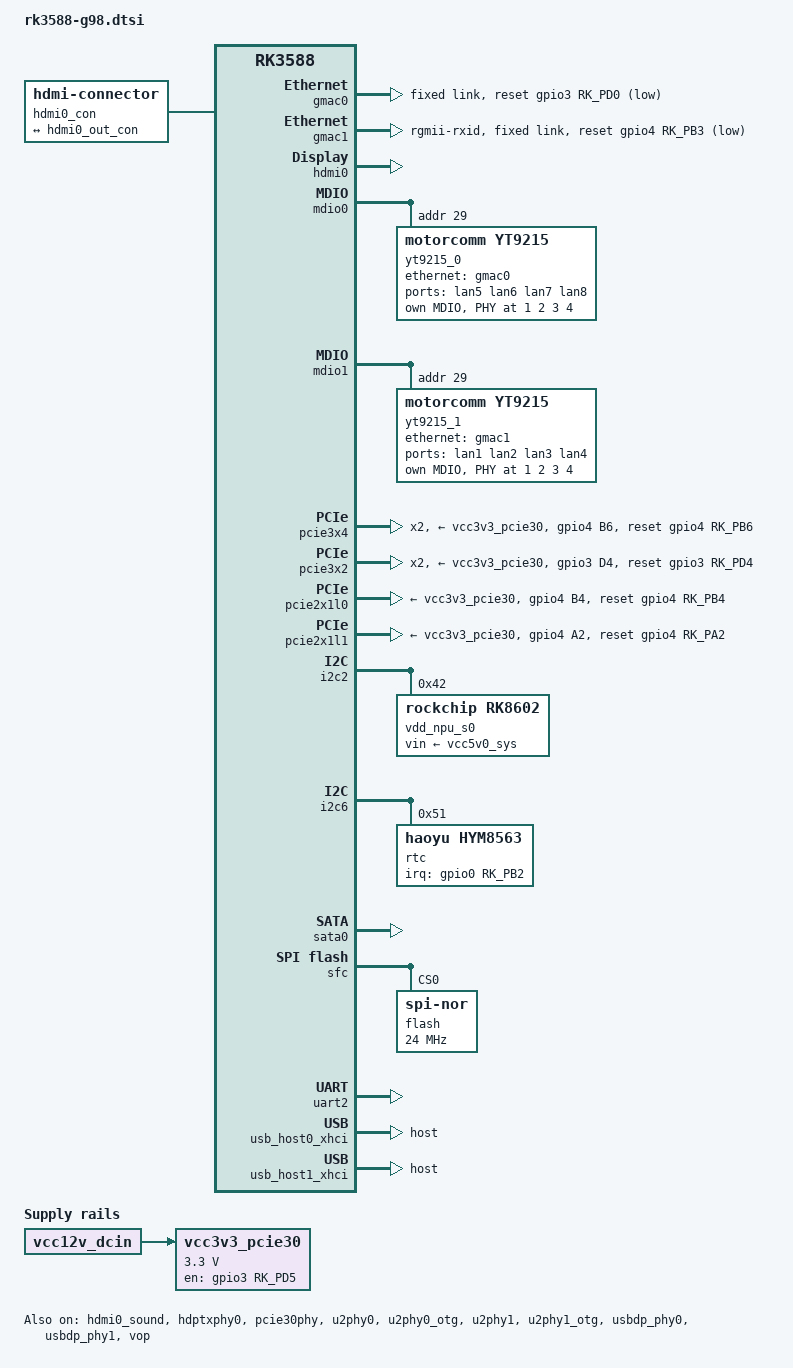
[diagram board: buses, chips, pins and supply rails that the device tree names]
// SPDX-License-Identifier: (GPL-2.0+ OR MIT)

#include <dt-bindings/soc/rockchip,vop2.h>

/ {
	hdmi0_con: hdmi-connector {
		compatible = "hdmi-connector";
		type = "a";

		port {
			hdmi0_con_in: endpoint {
				remote-endpoint = <&hdmi0_out_con>;
			};
		};
	};

	vcc3v3_pcie30: regulator-pcie30-3v3 {
		compatible = "regulator-fixed";
		regulator-name = "vcc3v3_pcie30";
		regulator-min-microvolt = <3300000>;
		regulator-max-microvolt = <3300000>;
		enable-active-high;
		gpio = <&gpio3 RK_PD5 GPIO_ACTIVE_HIGH>;
		off-on-delay-us = <500000>;
		startup-delay-us = <7500>;
		vin-supply = <&vcc12v_dcin>;
	};

};

&{/} {
	/delete-node/ backlight;
};

&{/adc-keys} {
	/delete-node/ button-vol-up;
	/delete-node/ button-vol-down;
	/delete-node/ button-menu;
	/delete-node/ button-escape;

	recovery-key {
		label = "F12";
		linux,code = <88>;
		press-threshold-microvolt = <1750>;
	};
};

&gmac0 {
	/delete-property/ phy-handle;
	tx_delay = <0x44>;
	snps,reset-gpio = <&gpio3 RK_PD0 GPIO_ACTIVE_LOW>;
	snps,reset-active-low;
	snps,reset-delays-us = <0 20000 100000>;

	fixed-link {
		speed = <1000>;
		full-duplex;
		pause;
	};
};

&gmac1 {
	clock_in_out = "output";
	phy-mode = "rgmii-rxid";
	pinctrl-names = "default";
	pinctrl-0 = <&gmac1_miim &gmac1_tx_bus2 &gmac1_rx_bus2
		     &gmac1_rgmii_clk &gmac1_rgmii_bus>;
	tx_delay = <0x42>;
	snps,reset-gpio = <&gpio4 RK_PB3 GPIO_ACTIVE_LOW>;
	snps,reset-active-low;
	snps,reset-delays-us = <0 20000 100000>;
	status = "okay";
	/delete-property/ phy-handle;

	fixed-link {
		speed = <1000>;
		full-duplex;
		pause;
	};
};

&hdmi0 {
	status = "okay";
};

&hdmi0_in {
	hdmi0_in_vp0: endpoint {
		remote-endpoint = <&vp0_out_hdmi0>;
	};
};

&hdmi0_out {
	hdmi0_out_con: endpoint {
		remote-endpoint = <&hdmi0_con_in>;
	};
};

&hdmi0_sound {
	status = "okay";
};

&hdptxphy0 {
	status = "okay";
};

&mdio0 {
	/delete-node/ ethernet-phy@1;

	yt9215_0: switch@1d {
		compatible = "motorcomm,yt9215";
		reg = <0x1d>;
		dsa,member = <1 0>;
		motorcomm,bdy-g98-led-profile;

		mdio {
			#address-cells = <1>;
			#size-cells = <0>;

			yt0_phy1: ethernet-phy@1 { reg = <1>; };
			yt0_phy2: ethernet-phy@2 { reg = <2>; };
			yt0_phy3: ethernet-phy@3 { reg = <3>; };
			yt0_phy4: ethernet-phy@4 { reg = <4>; };
		};

		ethernet-ports {
			#address-cells = <1>;
			#size-cells = <0>;

			port@1 { reg = <1>; label = "lan5"; phy-mode = "internal"; phy-handle = <&yt0_phy1>; };
			port@2 { reg = <2>; label = "lan6"; phy-mode = "internal"; phy-handle = <&yt0_phy2>; };
			port@3 { reg = <3>; label = "lan7"; phy-mode = "internal"; phy-handle = <&yt0_phy3>; };
			port@4 { reg = <4>; label = "lan8"; phy-mode = "internal"; phy-handle = <&yt0_phy4>; };

			port@9 {
				reg = <9>;
				ethernet = <&gmac0>;
				phy-mode = "rgmii-txid";

				fixed-link {
					speed = <1000>;
					full-duplex;
					pause;
				};
			};
		};
	};
};

&mdio1 {
	yt9215_1: switch@1d {
		compatible = "motorcomm,yt9215";
		reg = <0x1d>;
		dsa,member = <0 0>;
		motorcomm,bdy-g98-led-profile;

		mdio {
			#address-cells = <1>;
			#size-cells = <0>;

			yt1_phy1: ethernet-phy@1 { reg = <1>; };
			yt1_phy2: ethernet-phy@2 { reg = <2>; };
			yt1_phy3: ethernet-phy@3 { reg = <3>; };
			yt1_phy4: ethernet-phy@4 { reg = <4>; };
		};

		ethernet-ports {
			#address-cells = <1>;
			#size-cells = <0>;

			port@1 { reg = <1>; label = "lan1"; phy-mode = "internal"; phy-handle = <&yt1_phy1>; };
			port@2 { reg = <2>; label = "lan2"; phy-mode = "internal"; phy-handle = <&yt1_phy2>; };
			port@3 { reg = <3>; label = "lan3"; phy-mode = "internal"; phy-handle = <&yt1_phy3>; };
			port@4 { reg = <4>; label = "lan4"; phy-mode = "internal"; phy-handle = <&yt1_phy4>; };

			port@9 {
				reg = <9>;
				ethernet = <&gmac1>;
				phy-mode = "rgmii-txid";

				fixed-link {
					speed = <1000>;
					full-duplex;
					pause;
				};
			};
		};
	};
};

&pinctrl {
	pcie {
		pcie2x1l0_rst: pcie2x1l0-rst {
			rockchip,pins = <4 RK_PB4 RK_FUNC_GPIO &pcfg_pull_none>;
		};

		pcie2x1l1_rst: pcie2x1l1-rst {
			rockchip,pins = <4 RK_PA2 RK_FUNC_GPIO &pcfg_pull_none>;
		};

		pcie3x2_rst: pcie3x2-rst {
			rockchip,pins = <3 RK_PD4 RK_FUNC_GPIO &pcfg_pull_none>;
		};

		pcie3x4_rst: pcie3x4-rst {
			rockchip,pins = <4 RK_PB6 RK_FUNC_GPIO &pcfg_pull_none>;
		};
	};

	rtc {
		rtc_int: rtc-int {
			rockchip,pins = <0 RK_PB2 RK_FUNC_GPIO &pcfg_pull_up>;
		};
	};
};

&pcie30phy {
	data-lanes = <1 1 2 2>;
	status = "okay";
};

&pcie3x4 {
	max-link-speed = <3>;
	num-lanes = <2>;
	pinctrl-names = "default";
	pinctrl-0 = <&pcie3x4_rst>;
	reset-gpios = <&gpio4 RK_PB6 GPIO_ACTIVE_HIGH>;
	vpcie3v3-supply = <&vcc3v3_pcie30>;
	status = "okay";
};

&pcie3x2 {
	max-link-speed = <3>;
	num-lanes = <2>;
	pinctrl-names = "default";
	pinctrl-0 = <&pcie3x2_rst>;
	reset-gpios = <&gpio3 RK_PD4 GPIO_ACTIVE_HIGH>;
	vpcie3v3-supply = <&vcc3v3_pcie30>;
	status = "okay";
};

&pcie2x1l0 {
	max-link-speed = <2>;
	pinctrl-names = "default";
	pinctrl-0 = <&pcie2x1l0_rst>;
	reset-gpios = <&gpio4 RK_PB4 GPIO_ACTIVE_HIGH>;
	supports-clkreq;
	vpcie3v3-supply = <&vcc3v3_pcie30>;
	status = "okay";
};

&pcie2x1l1 {
	max-link-speed = <2>;
	pinctrl-names = "default";
	pinctrl-0 = <&pcie2x1l1_rst>;
	reset-gpios = <&gpio4 RK_PA2 GPIO_ACTIVE_HIGH>;
	supports-clkreq;
	vpcie3v3-supply = <&vcc3v3_pcie30>;
	status = "okay";
};

&i2c2 {
	/delete-node/ rtc@51;

	vdd_npu_s0: vdd_npu_mem_s0: regulator@42 {
		compatible = "rockchip,rk8602";
		reg = <0x42>;
		fcs,suspend-voltage-selector = <1>;
		regulator-name = "vdd_npu_s0";
		regulator-always-on;
		regulator-boot-on;
		regulator-min-microvolt = <550000>;
		regulator-max-microvolt = <950000>;
		regulator-ramp-delay = <2300>;
		vin-supply = <&vcc5v0_sys>;

		regulator-state-mem {
			regulator-off-in-suspend;
		};
	};
};

&i2c6 {
	status = "okay";

	rtc@51 {
		compatible = "haoyu,hym8563";
		reg = <0x51>;
		interrupt-parent = <&gpio0>;
		interrupts = <RK_PB2 IRQ_TYPE_LEVEL_LOW>;
		pinctrl-names = "default";
		pinctrl-0 = <&rtc_int>;
		wakeup-source;
	};
};

&pwm2 {
	status = "disabled";
};

&sata0 {
	status = "okay";
};

&sata1 {
	status = "disabled";
};

&sdhci {
	status = "disabled";
};

&sfc {
	status = "okay";

	flash@0 {
		compatible = "jedec,spi-nor";
		reg = <0>;
		spi-max-frequency = <24000000>;
		spi-rx-bus-width = <4>;
		spi-tx-bus-width = <1>;
	};
};

&uart2 {
	status = "okay";
};

&u2phy0 {
	status = "okay";
};

&u2phy0_otg {
	phy-supply = <&vcc5v0_otg>;
	status = "okay";
};

&u2phy1 {
	status = "okay";
};

&u2phy1_otg {
	phy-supply = <&vcc5v0_host>;
	status = "okay";
};

&usbdp_phy0 {
	status = "okay";
};

&usbdp_phy1 {
	status = "okay";
};

&usb_host0_xhci {
	dr_mode = "host";
	status = "okay";
};

&usb_host1_xhci {
	dr_mode = "host";
	/delete-property/ maximum-speed;
	status = "okay";
};

&vop {
	status = "okay";
};

&vop_mmu {
	status = "okay";
};

&vp0 {
	vp0_out_hdmi0: endpoint@ROCKCHIP_VOP2_EP_HDMI0 {
		reg = <ROCKCHIP_VOP2_EP_HDMI0>;
		remote-endpoint = <&hdmi0_in_vp0>;
	};
};
